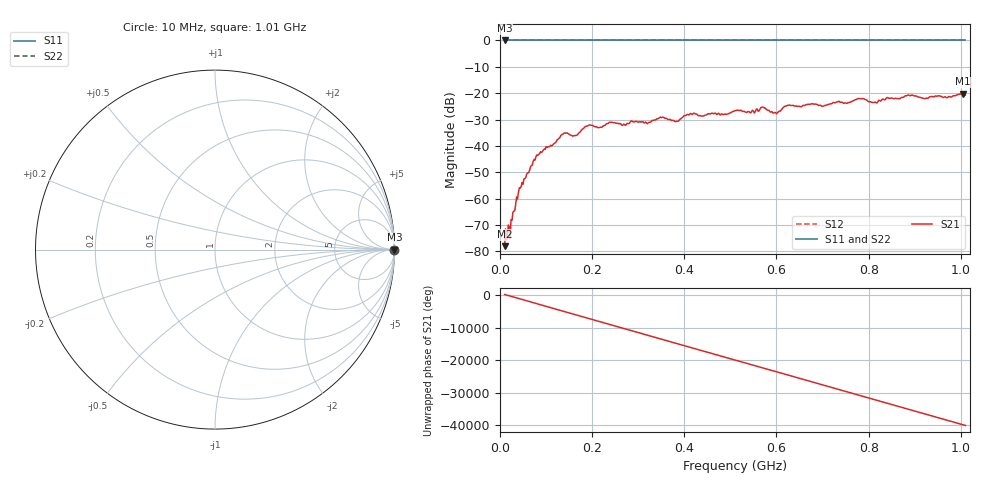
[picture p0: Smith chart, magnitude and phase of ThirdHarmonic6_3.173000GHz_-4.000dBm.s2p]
! 8/17/2025 9:33:31 AM
! C:\ANRITSUVNA\TEMP\TEMP.S2P
! CHANNEL.1
! TR.MEASUREMENT
! RAW.DATA
! RF.CORRECTION.OFF
! AVERAGING.OFF
! IF.BANDWIDTH: 5KHZ
! SWEEPTYPE:  FREQ.SWEEP(Linear)
! Reference Plane Port Info
! PORT:  PORT1  PORT2
! DISTANCE:  0  m  0  m
! TIME:  0  s  0  s
! PHASE.OFFSET:  0  deg.  0  deg.
! LOSS:  0  dB  0  dB
! REF.LOSS:  0  dB  0  dB
! REF.FREQ:  0  Hz  0  Hz
! Power Info
! POWER:  -20  dBm  -20  dBm
! EFF.POWER:  -20  dBm  -20  dBm
! SOURCE.ATTEN:  0  dB  0  dB
! TEST.ATTEN:  0  dB  0  dB
# GHZ S RI R 50.0
! FREQ.GHZ  S11RE  S11IM  S21RE  S21IM  S12RE  S12IM  S22RE  S22IM
!; PortSelection: Port_12
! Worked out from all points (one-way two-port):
!   501 points, 10 MHz to 1.01 GHz, reference 50 ohm
!   highest |S21| = -20.15 dB at 1.004 GHz (marker M1); lowest = -78.0 dB at 10 MHz (marker M2)
!   lowest |S11| = 0.0 dB at 10 MHz (marker M3)
!   |S11| at or under -10 dB: nowhere
!   |S22| runs from 0.0 to 0.0 dB; largest |S21 - S12| = 1.1
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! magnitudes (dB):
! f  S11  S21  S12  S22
! 10 MHz  0.0  -78.0  0.0  0.0
! 16 MHz  0.0  -74.6  0.0  0.0
! 18 MHz  0.0  -70.0  0.0  0.0
! 44 MHz  0.0  -56.0  0.0  0.0
! 76 MHz  0.0  -45.3  0.0  0.0
! 136 MHz  0.0  -35.6  0.0  0.0
! 162 MHz  0.0  -36.1  0.0  0.0
! 178 MHz  0.0  -33.7  0.0  0.0
! 194 MHz  0.0  -32.0  0.0  0.0
! 344 MHz  0.0  -29.5  0.0  0.0
! 384 MHz  0.0  -30.6  0.0  0.0
! 410 MHz  0.0  -28.3  0.0  0.0
! 510 MHz  0.0  -26.6  0.0  0.0
! 570 MHz  0.0  -25.3  0.0  0.0
! 598 MHz  0.0  -27.4  0.0  0.0
! 624 MHz  0.0  -24.6  0.0  0.0
! 678 MHz  0.0  -24.0  0.0  0.0
! 780 MHz  0.0  -22.0  0.0  0.0
! 814 MHz  0.0  -23.4  0.0  0.0
! 844 MHz  0.0  -21.9  0.0  0.0
! 1.004 GHz  0.0  -20.1  0.0  0.0
! 1.01 GHz  0.0  -20.8  0.0  0.0
